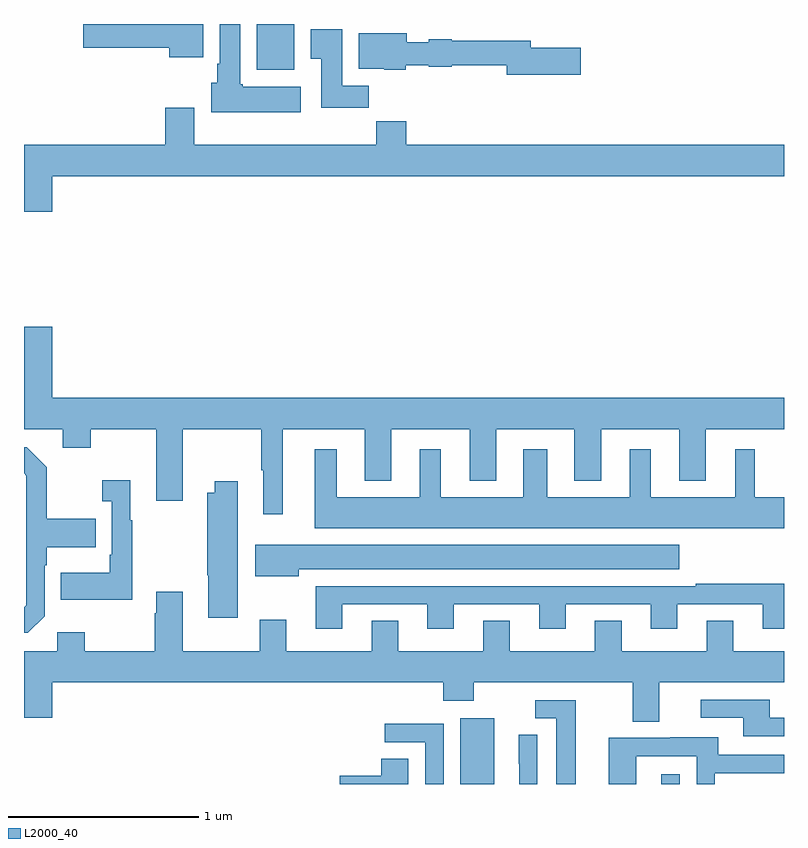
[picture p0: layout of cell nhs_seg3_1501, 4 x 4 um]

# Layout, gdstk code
import gdstk
lib = gdstk.Library(unit=1e-6, precision=1e-09)
def R(c, l, rs):  # rectangles x0, y0, x1, y1
    for r in rs: c.add(gdstk.rectangle(r[:2], r[2:], *l))
def P(c, l, *ps):  # polygons
    for p in ps: c.add(gdstk.Polygon(p, *l))
L2000_40 = (2000, 40)

nhs_seg3_1501 = lib.new_cell('nhs_seg3_1501')
R(nhs_seg3_1501, L2000_40, [(191.297,680.4,191.476,680.746), (192.353,680.4,192.45,680.452), (190.226,684.158,190.423,684.4)])
P(nhs_seg3_1501, L2000_40, [(189.943,684.4),(189.312,684.4),(189.312,684.275),(189.764,684.275),(189.764,684.224),(189.943,684.224)],
  [(190.456,684.07),(190.152,684.07),(190.152,684.084),(190.138,684.084),(190.138,684.4),(190.031,684.4),(190.031,684.19),(190.016,684.19),(190.016,684.09),(189.986,684.09),(189.986,683.936),(190.456,683.936)],
  [(190.814,684.076),(190.675,684.076),(190.675,684.373),(190.508,684.373),(190.508,684.217),(190.565,684.217),(190.565,683.958),(190.814,683.958)],
  [(191.929,684.275),(191.668,684.275),(191.668,684.311),(191.25,684.311),(191.25,684.319),(191.13,684.319),(191.13,684.304),(191.014,684.304),(191.014,684.352),(190.763,684.352),(190.763,684.164),(190.896,684.164),(190.896,684.158),(191.01,684.158),(191.01,684.182),(191.13,684.182),(191.13,684.175),(191.25,684.175),(191.25,684.183),(191.54,684.183),(191.54,684.133),(191.929,684.133)],
  [(189.148,683.6),(193,683.6),(193,683.764),(191.012,683.764),(191.012,683.888),(190.855,683.888),(190.855,683.764),(189.895,683.764),(189.895,683.959),(189.743,683.959),(189.743,683.764),(189,683.764),(189,683.412),(189.148,683.412)],
  [(190.363,682.268),(190.793,682.268),(190.793,681.995),(190.933,681.995),(190.933,682.268),(191.345,682.268),(191.345,681.995),(191.485,681.995),(191.485,682.268),(191.897,682.268),(191.897,681.995),(192.037,681.995),(192.037,682.268),(192.449,682.268),(192.449,681.995),(192.589,681.995),(192.589,682.268),(193,682.268),(193,682.432),(189.148,682.432),(189.148,682.807),(189,682.807),(189,682.268),(189.203,682.268),(189.203,682.169),(189.351,682.169),(189.351,682.268),(189.695,682.268),(189.695,681.891),(189.835,681.891),(189.835,682.268),(190.249,682.268),(190.249,682.052),(190.259,682.052),(190.259,681.819),(190.363,681.819)],
  [(189.108,681.282),(189.108,681.551),(189.121,681.551),(189.121,681.647),(189.377,681.647),(189.377,681.795),(189.121,681.795),(189.121,682.067),(189.015,682.173),(189,682.173),(189,682.035),(189.012,682.023),(189.012,681.342),(189,681.33),(189,681.195),(189.021,681.195)],
  [(193,681.91),(192.847,681.91),(192.847,682.162),(192.743,682.162),(192.743,681.91),(192.298,681.91),(192.298,682.162),(192.188,682.162),(192.188,681.91),(191.755,681.91),(191.755,682.162),(191.627,682.162),(191.627,681.91),(191.194,681.91),(191.194,682.162),(191.084,682.162),(191.084,681.91),(190.645,681.91),(190.645,682.162),(190.529,682.162),(190.529,681.746),(193,681.746)],
  [(189.571,681.787),(189.559,681.787),(189.559,682),(189.411,682),(189.411,681.887),(189.462,681.887),(189.462,681.607),(189.45,681.607),(189.45,681.511),(189.193,681.511),(189.193,681.371),(189.571,681.371)],
  [(190.126,681.994),(190.004,681.994),(190.004,681.934),(189.964,681.934),(189.964,681.499),(189.971,681.499),(189.971,681.276),(190.126,681.276)],
  [(190.447,681.53),(192.448,681.53),(192.448,681.658),(190.218,681.658),(190.218,681.494),(190.447,681.494)],
  [(190.675,681.345),(191.123,681.345),(191.123,681.216),(191.263,681.216),(191.263,681.345),(191.711,681.345),(191.711,681.216),(191.851,681.216),(191.851,681.345),(192.299,681.345),(192.299,681.216),(192.439,681.216),(192.439,681.345),(192.887,681.345),(192.887,681.216),(193,681.216),(193,681.454),(192.535,681.454),(192.535,681.441),(190.535,681.441),(190.535,681.216),(190.675,681.216)],
  [(191.207,680.837),(191.367,680.837),(191.367,680.936),(192.203,680.936),(192.203,680.728),(192.343,680.728),(192.343,680.936),(193,680.936),(193,681.1),(192.733,681.1),(192.733,681.26),(192.593,681.26),(192.593,681.1),(192.145,681.1),(192.145,681.26),(192.005,681.26),(192.005,681.1),(191.557,681.1),(191.557,681.26),(191.417,681.26),(191.417,681.1),(190.969,681.1),(190.969,681.26),(190.829,681.26),(190.829,681.1),(190.381,681.1),(190.381,681.265),(190.241,681.265),(190.241,681.1),(189.835,681.1),(189.835,681.412),(189.695,681.412),(189.695,681.299),(189.688,681.299),(189.688,681.1),(189.321,681.1),(189.321,681.199),(189.174,681.199),(189.174,681.1),(189,681.1),(189,680.748),(189.148,680.748),(189.148,680.936),(191.207,680.936)],
  [(193,680.748),(192.925,680.748),(192.925,680.844),(192.561,680.844),(192.561,680.748),(192.785,680.748),(192.785,680.652),(193,680.652)],
  [(191.905,680.841),(191.691,680.841),(191.691,680.745),(191.801,680.745),(191.801,680.4),(191.905,680.4)],
  [(191.208,680.718),(190.899,680.718),(190.899,680.619),(191.112,680.619),(191.112,680.4),(191.208,680.4)],
  [(191.7,680.66),(191.604,680.66),(191.604,680.506),(191.606,680.506),(191.606,680.4),(191.7,680.4)],
  [(192.222,680.547),(192.54,680.547),(192.54,680.4),(192.636,680.4),(192.636,680.457),(193,680.457),(193,680.553),(192.655,680.553),(192.655,680.647),(192.401,680.647),(192.401,680.643),(192.077,680.643),(192.077,680.4),(192.222,680.4)],
  [(191.023,680.534),(190.88,680.534),(190.88,680.444),(190.662,680.444),(190.662,680.4),(191.023,680.4)])

lib.write_gds('nhs_seg3_1501.gds')
